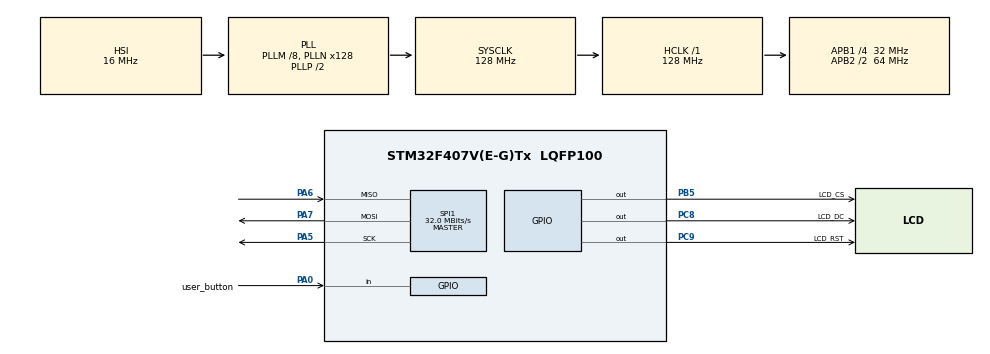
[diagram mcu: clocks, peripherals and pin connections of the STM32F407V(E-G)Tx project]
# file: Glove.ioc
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Mcu.Family=STM32F4
Mcu.Name=STM32F407V(E-G)Tx
Mcu.Package=LQFP100
NVIC.PriorityGroup=NVIC_PRIORITYGROUP_0
NVIC.TIM2_IRQn=true\:0\:0\:false\:false\:true\:true\:true
PA0-WKUP.GPIO_Label=user_button
PA0-WKUP.Signal=GPIO_Input
PA5.Mode=Full_Duplex_Master
PA5.Signal=SPI1_SCK
PA6.Mode=Full_Duplex_Master
PA6.Signal=SPI1_MISO
PA7.Mode=Full_Duplex_Master
PA7.Signal=SPI1_MOSI
PB5.GPIO_Label=LCD_CS
PB5.Signal=GPIO_Output
PC8.GPIO_Label=LCD_DC
PC8.Signal=GPIO_Output
PC9.GPIO_Label=LCD_RST
PC9.Signal=GPIO_Output
ProjectManager.HeapSize=0x200
ProjectManager.StackSize=0x400
ProjectManager.TargetToolchain=STM32CubeIDE
RCC.48MHZClocksFreq_Value=36571428.571428575
RCC.AHBFreq_Value=128000000
RCC.APB1CLKDivider=RCC_HCLK_DIV4
RCC.APB1Freq_Value=32000000
RCC.APB1TimFreq_Value=64000000
RCC.APB2CLKDivider=RCC_HCLK_DIV2
RCC.APB2Freq_Value=64000000
RCC.APB2TimFreq_Value=128000000
RCC.CortexFreq_Value=128000000
RCC.HCLKFreq_Value=128000000
RCC.HSE_VALUE=8000000
RCC.HSI_VALUE=16000000
RCC.LSE_VALUE=32768
RCC.PLLM=8
RCC.PLLN=128
RCC.PLLQ=7
RCC.SYSCLKFreq_VALUE=128000000
RCC.SYSCLKSource=RCC_SYSCLKSOURCE_PLLCLK
RCC.VCOOutputFreq_Value=256000000
SPI1.CalculateBaudRate=32.0 MBits/s
SPI1.Direction=SPI_DIRECTION_2LINES
SPI1.Mode=SPI_MODE_MASTER
SPI1.VirtualType=VM_MASTER
TIM2.Period=599
TIM2.Prescaler=25599
VP_TIM2_VS_ClockSourceINT.Mode=Internal
board=STM32F407G-DISC1

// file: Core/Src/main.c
/* USER CODE BEGIN Header */
/**
  ******************************************************************************
  * @file           : main.c
  * @brief          : Main program body
  ******************************************************************************
  * @attention
  *
  * <h2><center>&copy; Copyright (c) 2020 STMicroelectronics.
  * All rights reserved.</center></h2>
  *
  * This software component is licensed by ST under Ultimate Liberty license
  * SLA0044, the "License"; You may not use this file except in compliance with
  * the License. You may obtain a copy of the License at:
  *                             www.st.com/SLA0044
  *
  ******************************************************************************
  */
/* USER CODE END Header */
#include "main.h"

SPI_HandleTypeDef hspi1;

TIM_HandleTypeDef htim2;

void SystemClock_Config(void);
static void MX_GPIO_Init(void);
static void MX_SPI1_Init(void);
static void MX_TIM2_Init(void);

/* USER CODE BEGIN 0 */
uint8_t circle[] = {2,2,2,2,2,2,2,2,2,2,2,3,3,3,3,3,3,3,3,2,2,2,2,2,2,2,2,2,2,2,1,1,1,1,1,1,1,1,1,1,1,1,1,1};
uint8_t rectan[] = {1,1,1,1,1,1,1,1,1,1,1,1,1,1,1,1,1,1,1,1,1,2,2,2,2,2,2,2,2,2,2,2,2,2,2,2,2,2,2,2,2,1,1,1};
uint8_t tria[] =   {1,1,1,1,1,1,2,2,2,2,2,2,2,2,2,2,3,3,3,3,3,3,3,3,2,3,3,3,3,3,3,3,3,3,3,2,2,2,2,2,2,2,2,2};

uint8_t game[] = {1,2,2};

int start_cycle_x = 25;
int start_cycle_y = 25;

int start_recta_x0 = 60;
int start_recta_y0 = 15;
int start_recta_x1 = 80;
int start_recta_y1 = 35;

int start_tri_x0 = 100;
int start_tri_y0 = 15;
int start_tri_x1 = 110;
int start_tri_y1 = 25;
int start_tri_x2 = 120;
int start_tri_y2 = 15;

int tim2_i = 0;
/* USER CODE END 0 */

int main(void)
{

  /* MCU Configuration--------------------------------------------------------*/

  /* Reset of all peripherals, Initializes the Flash interface and the Systick. */
  HAL_Init();

  /* Configure the system clock */
  SystemClock_Config();

  /* Initialize all configured peripherals */
  MX_GPIO_Init();
  MX_SPI1_Init();
  MX_TIM2_Init();
  /* USER CODE BEGIN 2 */
  ILI9341_Init(&hspi1, LCD_CS_GPIO_Port, LCD_CS_Pin,LCD_DC_GPIO_Port, LCD_DC_Pin, LCD_RST_GPIO_Port, LCD_RST_Pin);
  ILI9341_setRotation(0);
  ILI9341_Fill(COLOR_BLACK);

  int startmenu_x = 50;
  int startmenu_y = 100;

  /* USER CODE END 2 */

  /* Infinite loop */
  /* USER CODE BEGIN WHILE */
  while (1)
  {
	  //menu page setup
	  	  ILI9341_printText("Start", startmenu_x, startmenu_y, COLOR_GREEN, COLOR_GREEN, 5);
	  	  HAL_Delay(500);
	  	  ILI9341_printText("Start", startmenu_x, startmenu_y, COLOR_BLACK, COLOR_BLACK, 5);

	  	  ILI9341_printText("ScoreBoard", 50, 180, COLOR_GREEN, COLOR_RED, 2);
	  	  ILI9341_printText("Music", 50, 220, COLOR_GREEN, COLOR_RED, 2);
	  	  ILI9341_printText("Setting", 50, 260, COLOR_GREEN, COLOR_RED, 2);

	  	  //test button and changes on screen
	  	  if ((GPIOA->IDR & GPIO_PIN_0) != (uint32_t)GPIO_PIN_RESET){
	  		  ILI9341_Fill(COLOR_BLACK);
//	  		  while ((GPIOA->IDR & GPIO_PIN_0) == (uint32_t)GPIO_PIN_RESET){
	  			  GamePage();
//	  		  }
	  		  ILI9341_Fill(COLOR_BLACK);

	  	  }
    /* USER CODE END WHILE */

	}
}

void SystemClock_Config(void)
{
  RCC_OscInitTypeDef RCC_OscInitStruct = {0};
  RCC_ClkInitTypeDef RCC_ClkInitStruct = {0};

  /** Configure the main internal regulator output voltage
  */
  __HAL_RCC_PWR_CLK_ENABLE();
  __HAL_PWR_VOLTAGESCALING_CONFIG(PWR_REGULATOR_VOLTAGE_SCALE1);
  /** Initializes the RCC Oscillators according to the specified parameters
  * in the RCC_OscInitTypeDef structure.
  */
  RCC_OscInitStruct.OscillatorType = RCC_OSCILLATORTYPE_HSI;
  RCC_OscInitStruct.HSIState = RCC_HSI_ON;
  RCC_OscInitStruct.HSICalibrationValue = RCC_HSICALIBRATION_DEFAULT;
  RCC_OscInitStruct.PLL.PLLState = RCC_PLL_ON;
  RCC_OscInitStruct.PLL.PLLSource = RCC_PLLSOURCE_HSI;
  RCC_OscInitStruct.PLL.PLLM = 8;
  RCC_OscInitStruct.PLL.PLLN = 128;
  RCC_OscInitStruct.PLL.PLLP = RCC_PLLP_DIV2;
  RCC_OscInitStruct.PLL.PLLQ = 7;
  if (HAL_RCC_OscConfig(&RCC_OscInitStruct) != HAL_OK)
  {
    Error_Handler();
  }
  /** Initializes the CPU, AHB and APB buses clocks
  */
  RCC_ClkInitStruct.ClockType = RCC_CLOCKTYPE_HCLK|RCC_CLOCKTYPE_SYSCLK
                              |RCC_CLOCKTYPE_PCLK1|RCC_CLOCKTYPE_PCLK2;
  RCC_ClkInitStruct.SYSCLKSource = RCC_SYSCLKSOURCE_PLLCLK;
  RCC_ClkInitStruct.AHBCLKDivider = RCC_SYSCLK_DIV1;
  RCC_ClkInitStruct.APB1CLKDivider = RCC_HCLK_DIV4;
  RCC_ClkInitStruct.APB2CLKDivider = RCC_HCLK_DIV2;

  if (HAL_RCC_ClockConfig(&RCC_ClkInitStruct, FLASH_LATENCY_4) != HAL_OK)
  {
    Error_Handler();
  }
}

static void MX_SPI1_Init(void)
{

  /* SPI1 parameter configuration*/
  hspi1.Instance = SPI1;
  hspi1.Init.Mode = SPI_MODE_MASTER;
  hspi1.Init.Direction = SPI_DIRECTION_2LINES;
  hspi1.Init.DataSize = SPI_DATASIZE_8BIT;
  hspi1.Init.CLKPolarity = SPI_POLARITY_LOW;
  hspi1.Init.CLKPhase = SPI_PHASE_1EDGE;
  hspi1.Init.NSS = SPI_NSS_SOFT;
  hspi1.Init.BaudRatePrescaler = SPI_BAUDRATEPRESCALER_2;
  hspi1.Init.FirstBit = SPI_FIRSTBIT_MSB;
  hspi1.Init.TIMode = SPI_TIMODE_DISABLE;
  hspi1.Init.CRCCalculation = SPI_CRCCALCULATION_DISABLE;
  hspi1.Init.CRCPolynomial = 10;
  if (HAL_SPI_Init(&hspi1) != HAL_OK)
  {
    Error_Handler();
  }

}

static void MX_TIM2_Init(void)
{

  TIM_ClockConfigTypeDef sClockSourceConfig = {0};
  TIM_MasterConfigTypeDef sMasterConfig = {0};

  htim2.Instance = TIM2;
  htim2.Init.Prescaler = 25599;
  htim2.Init.CounterMode = TIM_COUNTERMODE_UP;
  htim2.Init.Period = 599;
  htim2.Init.ClockDivision = TIM_CLOCKDIVISION_DIV1;
  htim2.Init.AutoReloadPreload = TIM_AUTORELOAD_PRELOAD_DISABLE;
  if (HAL_TIM_Base_Init(&htim2) != HAL_OK)
  {
    Error_Handler();
  }
  sClockSourceConfig.ClockSource = TIM_CLOCKSOURCE_INTERNAL;
  if (HAL_TIM_ConfigClockSource(&htim2, &sClockSourceConfig) != HAL_OK)
  {
    Error_Handler();
  }
  sMasterConfig.MasterOutputTrigger = TIM_TRGO_RESET;
  sMasterConfig.MasterSlaveMode = TIM_MASTERSLAVEMODE_DISABLE;
  if (HAL_TIMEx_MasterConfigSynchronization(&htim2, &sMasterConfig) != HAL_OK)
  {
    Error_Handler();
  }

}

static void MX_GPIO_Init(void)
{
  GPIO_InitTypeDef GPIO_InitStruct = {0};

  /* GPIO Ports Clock Enable */
  __HAL_RCC_GPIOA_CLK_ENABLE();
  __HAL_RCC_GPIOC_CLK_ENABLE();
  __HAL_RCC_GPIOB_CLK_ENABLE();

  /*Configure GPIO pin Output Level */
  HAL_GPIO_WritePin(GPIOC, LCD_DC_Pin|LCD_RST_Pin, GPIO_PIN_RESET);

  /*Configure GPIO pin Output Level */
  HAL_GPIO_WritePin(LCD_CS_GPIO_Port, LCD_CS_Pin, GPIO_PIN_RESET);

  /*Configure GPIO pin : user_button_Pin */
  GPIO_InitStruct.Pin = user_button_Pin;
  GPIO_InitStruct.Mode = GPIO_MODE_INPUT;
  GPIO_InitStruct.Pull = GPIO_NOPULL;
  HAL_GPIO_Init(user_button_GPIO_Port, &GPIO_InitStruct);

  /*Configure GPIO pins : LCD_DC_Pin LCD_RST_Pin */
  GPIO_InitStruct.Pin = LCD_DC_Pin|LCD_RST_Pin;
  GPIO_InitStruct.Mode = GPIO_MODE_OUTPUT_PP;
  GPIO_InitStruct.Pull = GPIO_NOPULL;
  GPIO_InitStruct.Speed = GPIO_SPEED_FREQ_LOW;
  HAL_GPIO_Init(GPIOC, &GPIO_InitStruct);

  /*Configure GPIO pin : LCD_CS_Pin */
  GPIO_InitStruct.Pin = LCD_CS_Pin;
  GPIO_InitStruct.Mode = GPIO_MODE_OUTPUT_PP;
  GPIO_InitStruct.Pull = GPIO_NOPULL;
  GPIO_InitStruct.Speed = GPIO_SPEED_FREQ_LOW;
  HAL_GPIO_Init(LCD_CS_GPIO_Port, &GPIO_InitStruct);

}

/* USER CODE BEGIN 4 */
void HAL_TIM_PeriodElapsedCallback(TIM_HandleTypeDef *htim)
{
  /* Prevent unused argument(s) compilation warning */
  if(htim->Instance == TIM2){
	  for (int i = 0; i < 15; i++){
		  ILI9341_fillCircle(start_cycle_x,start_cycle_y + 15 * tim2_i, 10, COLOR_RED);
		  ILI9341_fillCircle(start_cycle_x,start_cycle_y + 15 * tim2_i, 10, COLOR_BLACK);
//	  tim2_i++;
//	  if (tim2_i == 14) {HAL_TIM_Base_Stop(&htim2);}
	  }
	  HAL_TIM_Base_Stop(&htim2);
  }

  /* NOTE : This function should not be modified, when the callback is needed,
            the HAL_TIM_PeriodElapsedCallback could be implemented in the user file
   */
}

void GamePage (void){

//	char snum[5];
//	int num = tria[0];
//	itoa(num, snum, 10);

//	for (int i = 0; game[i] != '\0'; i++){
//		if (game[i] == 1){
//			HAL_TIM_Base_Start_IT(&htim2);
//		}
//	}
	int cycle_tracker = 0;
	int cycle = 0;

	int recta_tracker = 0;
	int recta = 0;

	int tri_tracker = 0;
	int tri = 0;

//	HAL_TIM_Base_Start_IT(&htim2);

	for (int i = 1; circle[i] != '\0'; i++){

//		 ILI9341_printText(snum, 50, 180, COLOR_GREEN, COLOR_RED, 2);

		if (circle[i]!=1){
			cycle++;
			if (circle[i] == 3 && circle[i-1] != 3){
				cycle_tracker = cycle;
			}
			else if (circle[i] == 2 && circle[i-1] != 2 && circle[i-1] != 1){
				cycle = cycle - cycle_tracker;
				cycle_tracker = 0;
			}
			ILI9341_fillCircle(start_cycle_x,start_cycle_y + 15 * cycle, 10, COLOR_RED);
			ILI9341_fillCircle(start_cycle_x,start_cycle_y + 15 * (cycle-cycle_tracker), 10, COLOR_RED);
		}
		else{
			cycle = 0;
		}

		if (rectan[i]!=1){
			recta++;
			if (rectan[i] == 3 && rectan[i-1] != 3){
				recta_tracker = recta;
			}
			else if (rectan[i] == 2 && rectan[i-1] != 2 && rectan[i-1] != 1){
				recta = recta - recta_tracker;
				recta_tracker = 0;
			}
			ILI9341_Fill_Rect(start_recta_x0,start_recta_y0 + 15 * recta, start_recta_x1, start_recta_y1 + 15 * recta, COLOR_BLUE);
			ILI9341_Fill_Rect(start_recta_x0,start_recta_y0 + 15 * (recta-recta_tracker), start_recta_x1, start_recta_y1 + 15 * (recta-recta_tracker), COLOR_BLUE);
		}
		else{
			recta = 0;
		}

		if (tria[i]!=1){
			tri++;
			if (tria[i] == 3 && tria[i-1] != 3){
				tri_tracker = tri;
			}
			else if (tria[i] == 2 && tria[i-1] != 2 && tria[i-1] != 1){
				tri = tri - tri_tracker;
				tri_tracker = 0;
			}
			ILI9341_fillTriangle(start_tri_x0, start_tri_y0 + 15 * tri, start_tri_x1, start_tri_y1 + 15 * tri, start_tri_x2, start_tri_y2 + 15 * tri, COLOR_GREENYELLOW);
			ILI9341_fillTriangle(start_tri_x0, start_tri_y0 + 15 * (tri-tri_tracker), start_tri_x1, start_tri_y1 + 15 * (tri-tri_tracker), start_tri_x2, start_tri_y2 + 15 * (tri-tri_tracker), COLOR_GREENYELLOW);
		}
		else{
			tri = 0;
		}

		HAL_Delay(100);
		//clean screen
		ILI9341_fillCircle(start_cycle_x,start_cycle_y + 15 * cycle, 10, COLOR_BLACK);
		ILI9341_fillCircle(start_cycle_x,start_cycle_y + 15 * (cycle-cycle_tracker), 10, COLOR_BLACK);
		ILI9341_Fill_Rect(start_recta_x0,start_recta_y0 + 15 * recta, start_recta_x1, start_recta_y1 + 15 * recta, COLOR_BLACK);
		ILI9341_Fill_Rect(start_recta_x0,start_recta_y0 + 15 * (recta-recta_tracker), start_recta_x1, start_recta_y1 + 15 * (recta-recta_tracker), COLOR_BLACK);
		ILI9341_fillTriangle(start_tri_x0, start_tri_y0 + 15 * tri, start_tri_x1, start_tri_y1 + 15 * tri, start_tri_x2, start_tri_y2 + 15 * tri, COLOR_BLACK);
		ILI9341_fillTriangle(start_tri_x0, start_tri_y0 + 15 * (tri-tri_tracker), start_tri_x1, start_tri_y1 + 15 * (tri-tri_tracker), start_tri_x2, start_tri_y2 + 15 * (tri-tri_tracker), COLOR_BLACK);
	}
}
/* USER CODE END 4 */

void Error_Handler(void)
{
}

/************************ (C) COPYRIGHT STMicroelectronics *****END OF FILE****/
